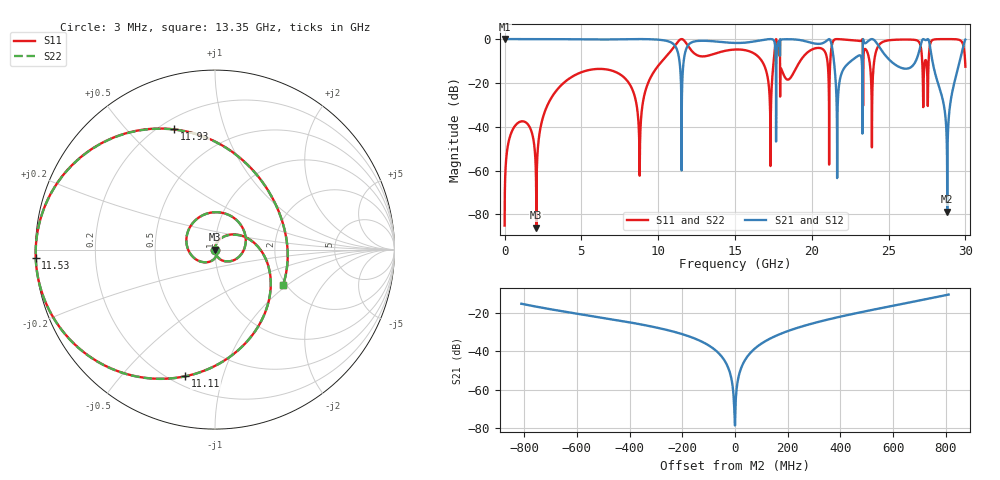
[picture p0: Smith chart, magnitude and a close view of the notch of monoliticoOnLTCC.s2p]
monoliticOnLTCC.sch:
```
<Qucs Schematic 25.1.0>
<Properties>
  <View=-584,-90,2054,1018,0.532972,0,0>
  <Grid=10,10,1>
  <DataSet=monoliticOnLTCC.dat>
  <DataDisplay=monoliticOnLTCC.dpl>
  <OpenDisplay=0>
  <Script=monoliticOnLTCC.m>
  <RunScript=0>
  <showFrame=0>
  <FrameText0=Title>
  <FrameText1=Drawn By:>
  <FrameText2=Date:>
  <FrameText3=Revision:>
</Properties>
<Symbol>
</Symbol>
<Components>
  <GND * 1 280 130 0 0 0 0>
  <Pac P1 1 190 130 18 -26 0 1 "1" 1 "50 Ohm" 1 "0 dBm" 0 "1 MHz" 0 "26.85" 0 "true" 0>
  <Pac P2 1 380 130 18 -26 0 1 "2" 1 "50 Ohm" 1 "0 dBm" 0 "1 MHz" 0 "26.85" 0 "true" 0>
  <GND * 1 190 160 0 0 0 0>
  <GND * 1 380 160 0 0 0 0>
  <Eqn Eqn1 1 300 320 -32 18 0 0 "dBS11=dB(S[1,1])" 1 "dBS12=dB(S[1,2])" 1 "phS12=phase(S[1,2])" 1 "phS11=phase(S[1,1])" 1 "yes" 0>
  <SPfile X1 1 280 90 -26 -65 0 0 "monoliticoOnLTCC.s2p" 1 "rectangular" 0 "linear" 0 "open" 0 "2" 0>
  <.SP SP1 1 -20 360 0 70 0 0 "lin" 1 "1 MHz" 1 "30 GHz" 1 "10001" 1 "no" 0 "1" 0 "2" 0 "no" 0 "no" 0>
</Components>
<Wires>
  <280 120 280 130 "" 0 0 0 "">
  <310 100 380 100 "" 0 0 0 "">
  <310 90 310 100 "" 0 0 0 "">
  <190 100 250 100 "" 0 0 0 "">
  <250 90 250 100 "" 0 0 0 "">
</Wires>
<Diagrams>
  <Rect 570 396 863 446 3 #c0c0c0 1 00 1 0 2e+09 3e+10 0 -50 5 0 1 -1 0.2 1 315 0 225 1 0 0 "" "" "">
	<"dBS11" #0000ff 0 3 0 0 0>
  </Rect>
  <Rect 590 976 899 476 3 #c0c0c0 1 00 1 0 2e+09 3e+10 1 -215.965 100 215.918 1 -1 0.5 1 315 0 225 1 0 0 "" "" "">
	<"monoliticOnLTCC_net:phS12" #0000ff 1 3 0 0 0>
	<"phS12" #ff0000 1 3 0 0 0>
  </Rect>
</Diagrams>
<Paintings>
</Paintings>
```
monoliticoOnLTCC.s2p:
! S parameter file generated by ana
#  GHz  S  DB  R  50
! frequency  S11_dB  S11_deg  S21_dB  S21_deg  S12_dB  S12_deg  S22_dB  S22_deg
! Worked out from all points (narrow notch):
!   10000 points, 3 MHz to 30 GHz, reference 50 ohm
!   highest |S21| = 0.00 dB at 39 MHz (marker M1); lowest = -78.8 dB at 28.82 GHz (marker M2)
!   notch at M2: 78.0 dB deep, 135 MHz wide at half that depth
!   lowest |S11| = -86.1 dB at 2.067 GHz (marker M3), VSWR 1.00, Z = 50 + j0.00497 ohm
!   |S11| at or under -10 dB: start of sweep to 10.26 GHz; 16.75 GHz to 17.52 GHz (771.2 MHz wide, 4.5 % of centre); 17.93 GHz to 19.25 GHz (1.313 GHz wide, 7.06 % of centre)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
!   |S22| runs from -86.1 to 0.0 dB; largest |S21 - S12| = 0
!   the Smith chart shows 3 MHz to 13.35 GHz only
!   S11 on the Smith chart (normalised r, x): 3 MHz: 1.00, -0.00; 11.11 GHz: 0.26, -0.76; 11.53 GHz: 0.00, -0.02; 11.93 GHz: 0.26, +0.68; 13.35 GHz: 1.92, -0.93
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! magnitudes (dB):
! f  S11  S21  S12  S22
! 3 MHz  -85.1  0.0  0.0  -85.1
! 39 MHz  -63.3  0.0  0.0  -63.3
! 2.067 GHz  -86.1  0.0  0.0  -86.1
! 11.11 GHz  -2.8  -3.2  -3.2  -2.8
! 11.53 GHz  0.0  -36.2  -36.2  0.0
! 11.93 GHz  -3.0  -3.0  -3.0  -3.0
! 13.35 GHz  -7.4  -0.9  -0.9  -7.4
! 15 GHz  -4.8  -1.8  -1.8  -4.8
! 27.49 GHz  -12.2  -0.3  -0.3  -12.2
! 28.82 GHz  0.0  -78.8  -78.8  0.0
! 30 GHz  -12.6  -0.2  -0.2  -12.6
